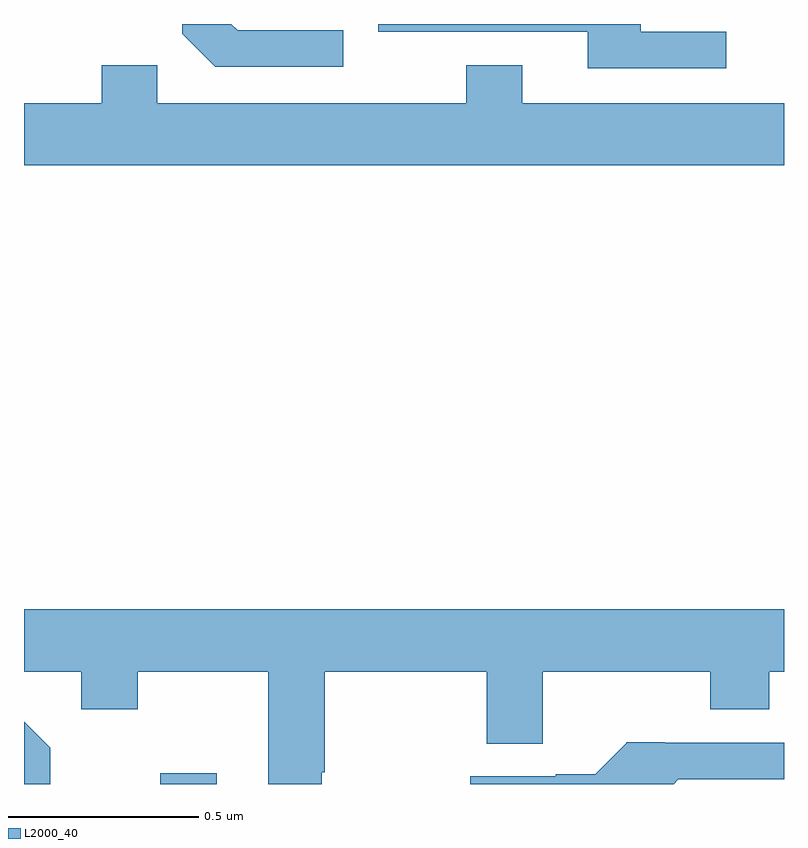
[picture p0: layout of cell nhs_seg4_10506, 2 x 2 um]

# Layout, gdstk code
import gdstk
lib = gdstk.Library(unit=1e-6, precision=1e-09)
def R(c, l, rs):  # rectangles x0, y0, x1, y1
    for r in rs: c.add(gdstk.rectangle(r[:2], r[2:], *l))
def P(c, l, *ps):  # polygons
    for p in ps: c.add(gdstk.Polygon(p, *l))
L2000_40 = (2000, 40)

nhs_seg4_10506 = lib.new_cell('nhs_seg4_10506')
R(nhs_seg4_10506, L2000_40, [(241.359,753.9,241.507,753.928)])
P(nhs_seg4_10506, L2000_40, [(241.84,755.883),(241.563,755.883),(241.546,755.9),(241.416,755.9),(241.416,755.874),(241.503,755.787),(241.84,755.787)],
  [(242.848,755.88),(242.623,755.88),(242.623,755.9),(241.932,755.9),(241.932,755.88),(242.483,755.88),(242.483,755.784),(242.848,755.784)],
  [(243,755.692),(242.311,755.692),(242.311,755.791),(242.164,755.791),(242.164,755.692),(241.35,755.692),(241.35,755.791),(241.204,755.791),(241.204,755.692),(241,755.692),(241,755.528),(243,755.528)],
  [(241.783,753.931),(241.791,753.931),(241.791,754.196),(242.218,754.196),(242.218,754.006),(242.365,754.006),(242.365,754.196),(242.806,754.196),(242.806,754.097),(242.961,754.097),(242.961,754.196),(243,754.196),(243,754.36),(241,754.36),(241,754.196),(241.151,754.196),(241.151,754.097),(241.299,754.097),(241.299,754.196),(241.643,754.196),(241.643,753.9),(241.783,753.9)],
  [(241.069,753.995),(241,754.064),(241,753.9),(241.069,753.9)],
  [(242.722,753.912),(243,753.912),(243,754.008),(242.686,754.008),(242.686,754.01),(242.586,754.01),(242.582,754.005),(242.503,753.926),(242.399,753.926),(242.399,753.921),(242.174,753.921),(242.174,753.9),(242.71,753.9)])

lib.write_gds('nhs_seg4_10506.gds')
